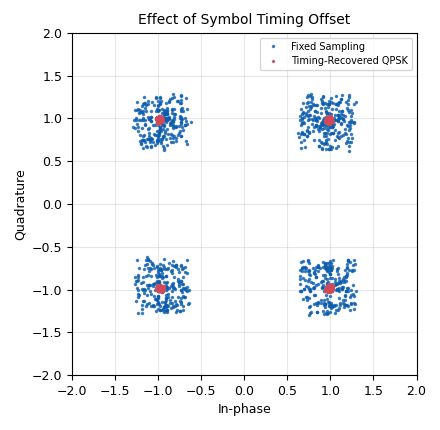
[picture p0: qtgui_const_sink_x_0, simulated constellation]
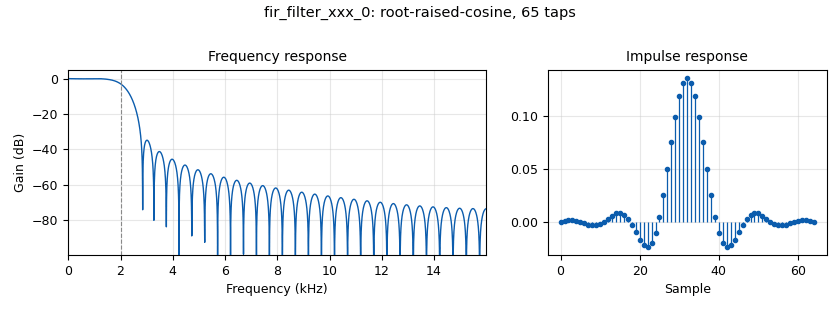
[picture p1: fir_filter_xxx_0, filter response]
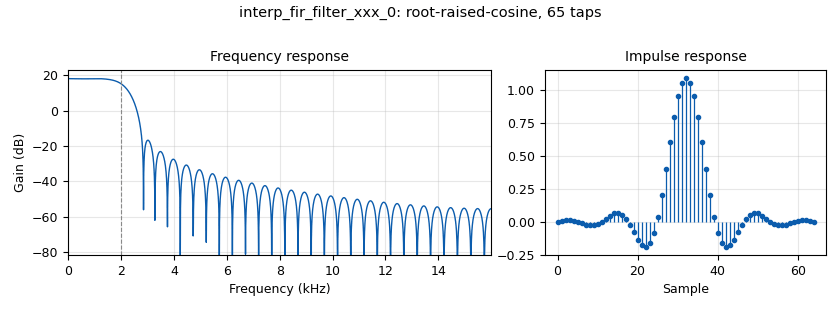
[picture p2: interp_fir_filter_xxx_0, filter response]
options:
  parameters:
    generate_options: qt_gui
    id: exp3
    output_language: python
    title: Effect of Symbol Timing Offset
  states: {}

blocks:
- name: alpha
  id: variable
  parameters:
    value: '0.35'
  states: {}
- name: ntaps
  id: variable
  parameters:
    value: span * sps + 1
  states: {}
- name: samp_rate
  id: variable
  parameters:
    value: '32000'
  states: {}
- name: span
  id: variable
  parameters:
    value: '8'
  states: {}
- name: sps
  id: variable
  parameters:
    value: int(samp_rate / symbol_rate)
  states: {}
- name: symbol_rate
  id: variable
  parameters:
    value: '4000'
  states: {}
- name: timing_offset
  id: variable_qtgui_range
  parameters:
    label: Timing Offset (Sample)
    start: '0'
    step: '1'
    stop: sps-1
    value: '0'
  states: {}
- name: analog_random_source_x_0
  id: analog_random_source_x
  parameters:
    max: '2'
    min: '0'
    num_samps: '1000'
    repeat: 'True'
    type: byte
  states: {}
- name: analog_random_source_x_0_0
  id: analog_random_source_x
  parameters:
    max: '2'
    min: '0'
    num_samps: '1000'
    repeat: 'True'
    type: byte
  states: {}
- name: blocks_delay_0
  id: blocks_delay
  parameters:
    delay: timing_offset
    type: complex
  states: {}
- name: blocks_float_to_complex_0
  id: blocks_float_to_complex
  parameters: {}
  states: {}
- name: blocks_keep_one_in_n_0
  id: blocks_keep_one_in_n
  parameters:
    n: sps
    type: complex
  states: {}
- name: blocks_throttle2_0
  id: blocks_throttle2
  parameters:
    samples_per_second: samp_rate
    type: complex
  states: {}
- name: digital_chunks_to_symbols_xx_0
  id: digital_chunks_to_symbols_xx
  parameters:
    dimension: '1'
    in_type: byte
    out_type: float
    symbol_table: '[-1,1]'
  states: {}
- name: digital_chunks_to_symbols_xx_0_0
  id: digital_chunks_to_symbols_xx
  parameters:
    dimension: '1'
    in_type: byte
    out_type: float
    symbol_table: '[-1,1]'
  states: {}
- name: digital_symbol_sync_xx_0
  id: digital_symbol_sync_xx
  parameters:
    damping: '1.0'
    loop_bw: '0.045'
    max_dev: '1.5'
    osps: '1'
    resamp_type: digital.IR_MMSE_8TAP
    sps: sps
    ted_gain: '1.0'
    ted_type: digital.TED_GARDNER
    type: cc
  states: {}
- name: fir_filter_xxx_0
  id: fir_filter_xxx
  parameters:
    decim: '1'
    taps: firdes.root_raised_cosine(1, samp_rate, symbol_rate, alpha, ntaps)
    type: ccf
  states: {}
- name: import_0
  id: import
  parameters:
    imports: import math
  states: {}
- name: interp_fir_filter_xxx_0
  id: interp_fir_filter_xxx
  parameters:
    interp: sps
    taps: firdes.root_raised_cosine(sps, samp_rate, symbol_rate, alpha, ntaps)
    type: ccf
  states: {}
- name: qtgui_const_sink_x_0
  id: qtgui_const_sink_x
  parameters:
    grid: 'True'
    label1: Fixed Sampling
    label2: Timing-Recovered QPSK
    name: Effect of Symbol Timing Offset
    nconnections: '2'
    size: '1024'
    type: complex
  states: {}

connections:
- [analog_random_source_x_0, '0', digital_chunks_to_symbols_xx_0, '0']
- [analog_random_source_x_0_0, '0', digital_chunks_to_symbols_xx_0_0, '0']
- [blocks_delay_0, '0', blocks_keep_one_in_n_0, '0']
- [blocks_delay_0, '0', digital_symbol_sync_xx_0, '0']
- [blocks_float_to_complex_0, '0', interp_fir_filter_xxx_0, '0']
- [blocks_keep_one_in_n_0, '0', qtgui_const_sink_x_0, '0']
- [blocks_throttle2_0, '0', fir_filter_xxx_0, '0']
- [digital_chunks_to_symbols_xx_0, '0', blocks_float_to_complex_0, '0']
- [digital_chunks_to_symbols_xx_0_0, '0', blocks_float_to_complex_0, '1']
- [digital_symbol_sync_xx_0, '0', qtgui_const_sink_x_0, '1']
- [fir_filter_xxx_0, '0', blocks_delay_0, '0']
- [interp_fir_filter_xxx_0, '0', blocks_throttle2_0, '0']

metadata:
  file_format: 1
  grc_version: 3.10.12.0
